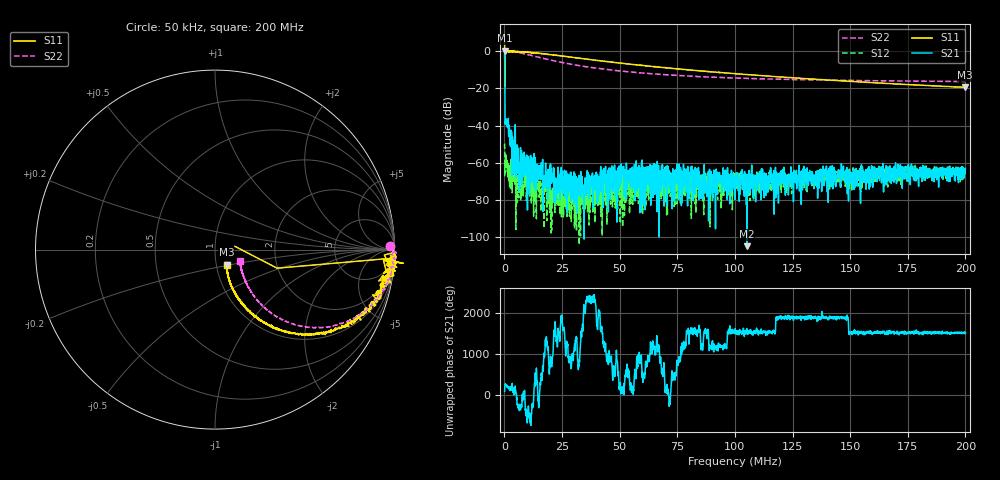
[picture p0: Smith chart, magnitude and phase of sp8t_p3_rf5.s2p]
! 26-Feb-26 11:44:20 AM
! E:\VNA_MEASUREMENTS\SP8T\SP8T_P3_RF5.S2P
! CHANNEL.1
! TR.MEASUREMENT
! CORRECTED.DATA
# GHZ S RI R 50.0
! FREQ.GHZ  S11RE  S11IM  S21RE  S21IM  S12RE  S12IM  S22RE  S22IM
!; PortSelection: Port_12
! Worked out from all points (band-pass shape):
!   2000 points, 50 kHz to 200 MHz, reference 50 ohm
!   highest |S21| = 0.17 dB at 150 kHz (marker M1); lowest = -104.7 dB at 105.2 MHz (marker M2)
!   |S21| within 3 dB of the highest: start of sweep to 157.7 kHz
!   lowest |S11| = -19.5 dB at 199.9 MHz (marker M3), VSWR 1.24, Z = 56.2 - j9.5 ohm
!   |S11| at or under -10 dB: 113.6 kHz to 238.6 kHz (125 kHz wide, 71 % of centre); 78.64969 MHz to 78.69271 MHz (43.02 kHz wide, 0.0547 % of centre); 79.06 MHz to end of sweep
!   |S22| runs from -16.4 to 0.1 dB; largest |S21 - S12| = 1
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5e-05  -1.448 1.277  0.0443 0.7381  0.00316 0.000998  0.9723 0.0202
0.000150025  0.1107 0.0184  -0.6719 -0.7677  -0.000168 -0.000413  1.011 -0.019
0.001350325  1.003 -0.0939  -0.0108 -0.00475  -0.000524 0.000953  0.9916 -0.0789
0.005851451  0.9542 -0.2035  0.000701 0.00238  0.000296 -0.000309  0.8659 -0.3162
0.0156539  0.7702 -0.402  -0.000339 -0.000757  0.000102 -0.000311  0.5063 -0.4334
0.01775443  0.7112 -0.4282  5.24e-05 -0.000617  0.000229 -0.000144  0.4542 -0.4203
0.02025505  0.6631 -0.4521  0.000637 -0.000252  2e-07 -1.31e-05  0.4017 -0.4031
0.0220555  0.6295 -0.4628  -1.46e-05 -0.000321  2.01e-05 9.84e-05  0.3707 -0.3902
0.03345835  0.4289 -0.4641  0.000254 -0.00015  -0.000108 1.33e-05  0.256 -0.304
0.05076268  0.2573 -0.3927  -0.000429 0.000398  -0.000193 0.000116  0.1913 -0.219
0.06676668  0.1742 -0.3293  0.000457 0.000148  -3.33e-05 0.000298  0.1684 -0.1711
0.07066766  0.1616 -0.3145  0.000629 0.000366  3.54e-05 1.49e-05  0.1637 -0.1618
0.07296823  0.1572 -0.3073  0.000439 -8.28e-05  1.43e-05 0.000216  0.163 -0.1582
0.08317078  0.13 -0.2715  -0.000181 0.00036  8.88e-05 0.000185  0.1557 -0.1398
0.08557139  0.1223 -0.2656  -9.87e-05 0.000294  -0.000188 0.00035  0.1544 -0.1361
0.09787446  0.1063 -0.2306  -0.000174 0.000279  -0.000157 0.00018  0.1488 -0.1204
0.100075  0.1016 -0.226  -0.000104 5e-06  0.000226 0.000338  0.1493 -0.1172
0.1051763  0.0987 -0.2137  -5.8e-06 1e-07  -3.96e-05 0.000315  0.1477 -0.1131
0.1333833  0.0765 -0.1604  0.000185 0.000533  -6.96e-05 0.000233  0.143 -0.0906
0.1666917  0.067 -0.1164  0.000184 0.000483  2.1e-05 0.000486  0.1407 -0.0749
0.1999  0.0659 -0.0836  4.3e-06 0.000562  0.000162 0.000618  0.1381 -0.0636
0.2  0.0662 -0.0836  0.000187 0.000691  -1.81e-05 0.000583  0.1387 -0.0636
